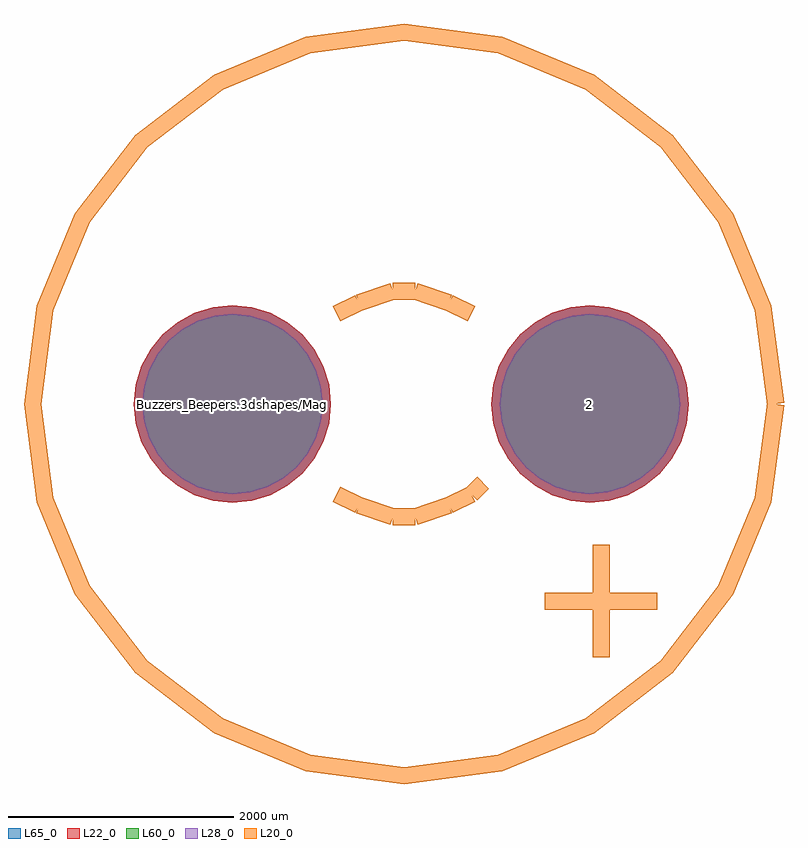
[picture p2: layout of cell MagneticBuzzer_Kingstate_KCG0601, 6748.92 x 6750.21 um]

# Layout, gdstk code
import gdstk
lib = gdstk.Library(unit=1e-6, precision=1e-09)
def P(c, l, *ps):  # polygons
    for p in ps: c.add(gdstk.Polygon(p, *l))
L20_0 = (20, 0)
L22_0 = (22, 0)
L28_0 = (28, 0)
L60_0 = (60, 0)
L65_0 = (65, 0)

magneticbuzzer_kingstate = lib.new_cell('MagneticBuzzer_Kingstate_KCG0601')
P(magneticbuzzer_kingstate, L22_0, [(4050.1,0),(4033.285,170.724),(3983.487,334.886),(3902.619,486.18),(3793.789,618.789),(3661.18,727.619),(3509.886,808.487),(3345.724,858.285),(3175,875.1),(3004.276,858.285),(2840.114,808.487),(2688.82,727.619),(2556.211,618.789),(2447.381,486.18),(2366.513,334.886),(2316.715,170.724),(2299.9,0),(2316.715,-170.724),(2366.513,-334.886),(2447.381,-486.18),(2556.211,-618.789),(2688.82,-727.619),(2840.114,-808.487),(3004.276,-858.285),(3175,-875.1),(3345.724,-858.285),(3509.886,-808.487),(3661.18,-727.619),(3793.789,-618.789),(3902.619,-486.18),(3983.487,-334.886),(4033.285,-170.724)],
  [(875.1,0),(858.285,170.724),(808.487,334.886),(727.619,486.18),(618.789,618.789),(486.18,727.619),(334.886,808.487),(170.724,858.285),(0,875.1),(-170.724,858.285),(-334.886,808.487),(-486.18,727.619),(-618.789,618.789),(-727.619,486.18),(-808.487,334.886),(-858.285,170.724),(-875.1,0),(-858.285,-170.724),(-808.487,-334.886),(-727.619,-486.18),(-618.789,-618.789),(-486.18,-727.619),(-334.886,-808.487),(-170.724,-858.285),(0,-875.1),(170.724,-858.285),(334.886,-808.487),(486.18,-727.619),(618.789,-618.789),(727.619,-486.18),(808.487,-334.886),(858.285,-170.724)])
P(magneticbuzzer_kingstate, L28_0, [(3975.1,0),(3959.726,156.092),(3914.196,306.185),(3840.259,444.512),(3740.756,565.756),(3619.512,665.259),(3481.185,739.196),(3331.092,784.726),(3175,800.1),(3018.908,784.726),(2868.815,739.196),(2730.488,665.259),(2609.244,565.756),(2509.741,444.512),(2435.804,306.185),(2390.274,156.092),(2374.9,0),(2390.274,-156.092),(2435.804,-306.185),(2509.741,-444.512),(2609.244,-565.756),(2730.488,-665.259),(2868.815,-739.196),(3018.908,-784.726),(3175,-800.1),(3331.092,-784.726),(3481.185,-739.196),(3619.512,-665.259),(3740.756,-565.756),(3840.259,-444.512),(3914.196,-306.185),(3959.726,-156.092)],
  [(800.1,0),(784.726,156.092),(739.196,306.185),(665.259,444.512),(565.756,565.756),(444.512,665.259),(306.185,739.196),(156.092,784.726),(0,800.1),(-156.092,784.726),(-306.185,739.196),(-444.512,665.259),(-565.756,565.756),(-665.259,444.512),(-739.196,306.185),(-784.726,156.092),(-800.1,0),(-784.726,-156.092),(-739.196,-306.185),(-665.259,-444.512),(-565.756,-565.756),(-444.512,-665.259),(-306.185,-739.196),(-156.092,-784.726),(0,-800.1),(156.092,-784.726),(306.185,-739.196),(444.512,-665.259),(565.756,-565.756),(665.259,-444.512),(739.196,-306.185),(784.726,-156.092)])
P(magneticbuzzer_kingstate, L60_0, [(3975.1,0),(3959.726,156.092),(3914.196,306.185),(3840.259,444.512),(3740.756,565.756),(3619.512,665.259),(3481.185,739.196),(3331.092,784.726),(3175,800.1),(3018.908,784.726),(2868.815,739.196),(2730.488,665.259),(2609.244,565.756),(2509.741,444.512),(2435.804,306.185),(2390.274,156.092),(2374.9,0),(2390.274,-156.092),(2435.804,-306.185),(2509.741,-444.512),(2609.244,-565.756),(2730.488,-665.259),(2868.815,-739.196),(3018.908,-784.726),(3175,-800.1),(3331.092,-784.726),(3481.185,-739.196),(3619.512,-665.259),(3740.756,-565.756),(3840.259,-444.512),(3914.196,-306.185),(3959.726,-156.092)],
  [(800.1,0),(784.726,156.092),(739.196,306.185),(665.259,444.512),(565.756,565.756),(444.512,665.259),(306.185,739.196),(156.092,784.726),(0,800.1),(-156.092,784.726),(-306.185,739.196),(-444.512,665.259),(-565.756,565.756),(-665.259,444.512),(-739.196,306.185),(-784.726,156.092),(-800.1,0),(-784.726,-156.092),(-739.196,-306.185),(-665.259,-444.512),(-565.756,-565.756),(-444.512,-665.259),(-306.185,-739.196),(-156.092,-784.726),(0,-800.1),(156.092,-784.726),(306.185,-739.196),(444.512,-665.259),(565.756,-565.756),(665.259,-444.512),(739.196,-306.185),(784.726,-156.092)])
P(magneticbuzzer_kingstate, L65_0, [(4050.1,0),(4033.285,170.724),(3983.487,334.886),(3902.619,486.18),(3793.789,618.789),(3661.18,727.619),(3509.886,808.487),(3345.724,858.285),(3175,875.1),(3004.276,858.285),(2840.114,808.487),(2688.82,727.619),(2556.211,618.789),(2447.381,486.18),(2366.513,334.886),(2316.715,170.724),(2299.9,0),(2316.715,-170.724),(2366.513,-334.886),(2447.381,-486.18),(2556.211,-618.789),(2688.82,-727.619),(2840.114,-808.487),(3004.276,-858.285),(3175,-875.1),(3345.724,-858.285),(3509.886,-808.487),(3661.18,-727.619),(3793.789,-618.789),(3902.619,-486.18),(3983.487,-334.886),(4033.285,-170.724)],
  [(875.1,0),(858.285,170.724),(808.487,334.886),(727.619,486.18),(618.789,618.789),(486.18,727.619),(334.886,808.487),(170.724,858.285),(0,875.1),(-170.724,858.285),(-334.886,808.487),(-486.18,727.619),(-618.789,618.789),(-727.619,486.18),(-808.487,334.886),(-858.285,170.724),(-875.1,0),(-858.285,-170.724),(-808.487,-334.886),(-727.619,-486.18),(-618.789,-618.789),(-486.18,-727.619),(-334.886,-808.487),(-170.724,-858.285),(0,-875.1),(170.724,-858.285),(334.886,-808.487),(486.18,-727.619),(618.789,-618.789),(727.619,-486.18),(808.487,-334.886),(858.285,-170.724)])
magneticbuzzer_kingstate.add(gdstk.FlexPath([(4823.46,0),(4711.034,853.963),(4381.416,1649.73),(3857.071,2333.071),(3173.73,2857.416),(2377.963,3187.034),(1524,3299.46),(670.037,3187.034),(-125.73,2857.416),(-809.071,2333.071),(-1333.416,1649.73),(-1663.034,853.963),(-1775.46,0),(-1663.034,-853.963),(-1333.416,-1649.73),(-809.071,-2333.071),(-125.73,-2857.416),(670.037,-3187.034),(1524,-3299.46),(2377.963,-3187.034),(3173.73,-2857.416),(3857.071,-2333.071),(4381.416,-1649.73),(4711.034,-853.963),(4823.46,0)], 149.998, ends="flush", simple_path=True, layer=20, datatype=0))  # L20_0
magneticbuzzer_kingstate.add(gdstk.FlexPath([(1125.22,899.16),(924.56,800.1)], 149.998, ends="flush", simple_path=True, layer=20, datatype=0))  # L20_0
magneticbuzzer_kingstate.add(gdstk.FlexPath([(1424.94,1000.76),(1125.22,899.16)], 149.998, ends="flush", simple_path=True, layer=20, datatype=0))  # L20_0
magneticbuzzer_kingstate.add(gdstk.FlexPath([(1623.06,1000.76),(1424.94,1000.76)], 149.998, ends="flush", simple_path=True, layer=20, datatype=0))  # L20_0
magneticbuzzer_kingstate.add(gdstk.FlexPath([(1922.78,899.16),(1623.06,1000.76)], 149.998, ends="flush", simple_path=True, layer=20, datatype=0))  # L20_0
magneticbuzzer_kingstate.add(gdstk.FlexPath([(2123.44,800.1),(1922.78,899.16)], 149.998, ends="flush", simple_path=True, layer=20, datatype=0))  # L20_0
magneticbuzzer_kingstate.add(gdstk.FlexPath([(1125.22,-899.16),(924.56,-800.1)], 149.998, ends="flush", simple_path=True, layer=20, datatype=0))  # L20_0
magneticbuzzer_kingstate.add(gdstk.FlexPath([(1424.94,-1000.76),(1125.22,-899.16)], 149.998, ends="flush", simple_path=True, layer=20, datatype=0))  # L20_0
magneticbuzzer_kingstate.add(gdstk.FlexPath([(1623.06,-1000.76),(1424.94,-1000.76)], 149.998, ends="flush", simple_path=True, layer=20, datatype=0))  # L20_0
magneticbuzzer_kingstate.add(gdstk.FlexPath([(1922.78,-899.16),(1623.06,-1000.76)], 149.998, ends="flush", simple_path=True, layer=20, datatype=0))  # L20_0
magneticbuzzer_kingstate.add(gdstk.FlexPath([(2123.44,-800.1),(1922.78,-899.16)], 149.998, ends="flush", simple_path=True, layer=20, datatype=0))  # L20_0
magneticbuzzer_kingstate.add(gdstk.FlexPath([(2225.04,-701.04),(2123.44,-800.1)], 149.998, ends="flush", simple_path=True, layer=20, datatype=0))  # L20_0
magneticbuzzer_kingstate.add(gdstk.FlexPath([(3274.06,-1249.68),(3274.06,-2250.44)], 149.998, ends="flush", simple_path=True, layer=20, datatype=0))  # L20_0
magneticbuzzer_kingstate.add(gdstk.FlexPath([(2773.68,-1750.06),(3774.44,-1750.06)], 149.998, ends="flush", simple_path=True, layer=20, datatype=0))  # L20_0
magneticbuzzer_kingstate.add(gdstk.Label('Buzzers_Beepers.3dshapes/MagneticBuzzer_Kingstate_KCG0601.wrl', (0,0), layer=12, texttype=0))
magneticbuzzer_kingstate.add(gdstk.Label('2', (3175,0), layer=28, texttype=0))
magneticbuzzer_kingstate.add(gdstk.Label('1', (0,0), layer=28, texttype=0))
magneticbuzzer_kingstate.add(gdstk.Label('type', (1524,-5001.26), layer=9, texttype=0))
magneticbuzzer_kingstate.add(gdstk.Label('devicename', (1524,5001.26), layer=9, texttype=0))

lib.write_gds('MagneticBuzzer_Kingstate_KCG0601.gds')
